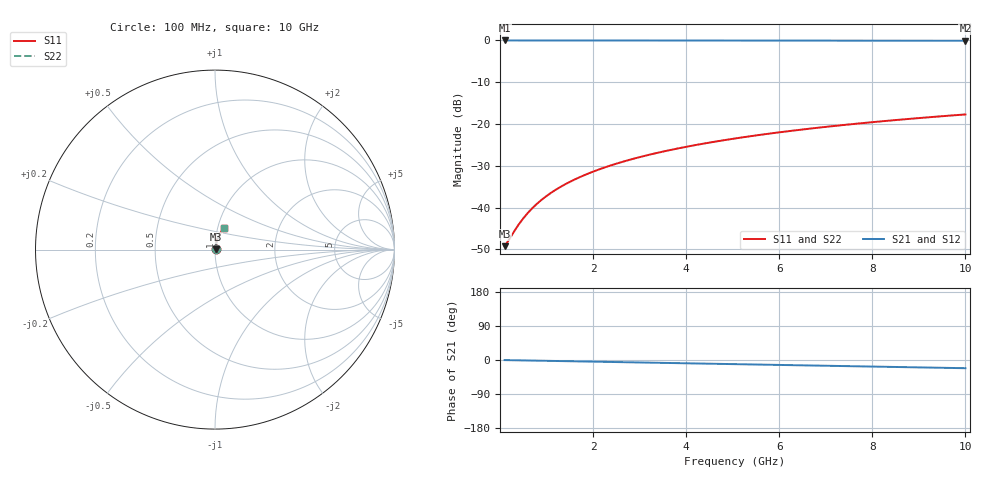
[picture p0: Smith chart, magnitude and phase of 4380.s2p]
# Hz S RI R 50.00
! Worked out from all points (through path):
!   100 points, 100 MHz to 10 GHz, reference 50 ohm
!   highest |S21| = -0.03 dB at 100 MHz (marker M1); lowest = -0.1 dB at 10 GHz (marker M2)
!   group delay of S21, straight-line fit = 6.02 ps
!   lowest |S11| = -49.2 dB at 100 MHz (marker M3), VSWR 1.01, Z = 50.3 + j0.133 ohm
!   |S11| at or under -10 dB: start of sweep to end of sweep
!   |S22| runs from -49.2 to -17.7 dB; largest |S21 - S12| = 0
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1e8  0.00319 0.00132  0.9968 -0.00377  0.9968 -0.00377  0.00319 0.00132
2e8  0.00323 0.00265  0.9968 -0.00755  0.9968 -0.00755  0.00323 0.00265
3e8  0.00326 0.00397  0.9967 -0.0113  0.9967 -0.0113  0.00326 0.00397
4e8  0.00331 0.00529  0.9966 -0.0151  0.9966 -0.0151  0.00331 0.00529
5e8  0.00337 0.00661  0.9965 -0.0189  0.9965 -0.0189  0.00337 0.00661
6e8  0.00343 0.00793  0.9964 -0.0226  0.9964 -0.0226  0.00343 0.00793
7e8  0.0035 0.00926  0.9963 -0.0264  0.9963 -0.0264  0.0035 0.00926
8e8  0.00359 0.0106  0.9962 -0.0302  0.9962 -0.0302  0.00359 0.0106
1e9  0.00378 0.0132  0.9959 -0.0377  0.9959 -0.0377  0.00378 0.0132
1.2e9  0.00401 0.0158  0.9955 -0.0453  0.9955 -0.0453  0.00401 0.0158
1.5e9  0.00443 0.0198  0.9949 -0.0566  0.9949 -0.0566  0.00443 0.0198
1.8e9  0.00494 0.0237  0.994 -0.0678  0.994 -0.0678  0.00494 0.0237
2.1e9  0.00553 0.0276  0.9931 -0.0791  0.9931 -0.0791  0.00553 0.0276
2.5e9  0.00646 0.0329  0.9916 -0.0941  0.9916 -0.0941  0.00646 0.0329
2.9e9  0.00755 0.038  0.9899 -0.1091  0.9899 -0.1091  0.00755 0.038
3.4e9  0.00913 0.0444  0.9873 -0.1278  0.9873 -0.1278  0.00913 0.0444
4.2e9  0.0121 0.0546  0.9824 -0.1575  0.9824 -0.1575  0.0121 0.0546
5.1e9  0.0163 0.0657  0.9758 -0.1907  0.9758 -0.1907  0.0163 0.0657
5.9e9  0.0206 0.0753  0.9688 -0.22  0.9688 -0.22  0.0206 0.0753
6.7e9  0.0254 0.0847  0.9608 -0.2489  0.9608 -0.2489  0.0254 0.0847
8.4e9  0.0376 0.1034  0.9408 -0.3093  0.9408 -0.3093  0.0376 0.1034
1e10  0.0511 0.1195  0.9182 -0.3645  0.9182 -0.3645  0.0511 0.1195
